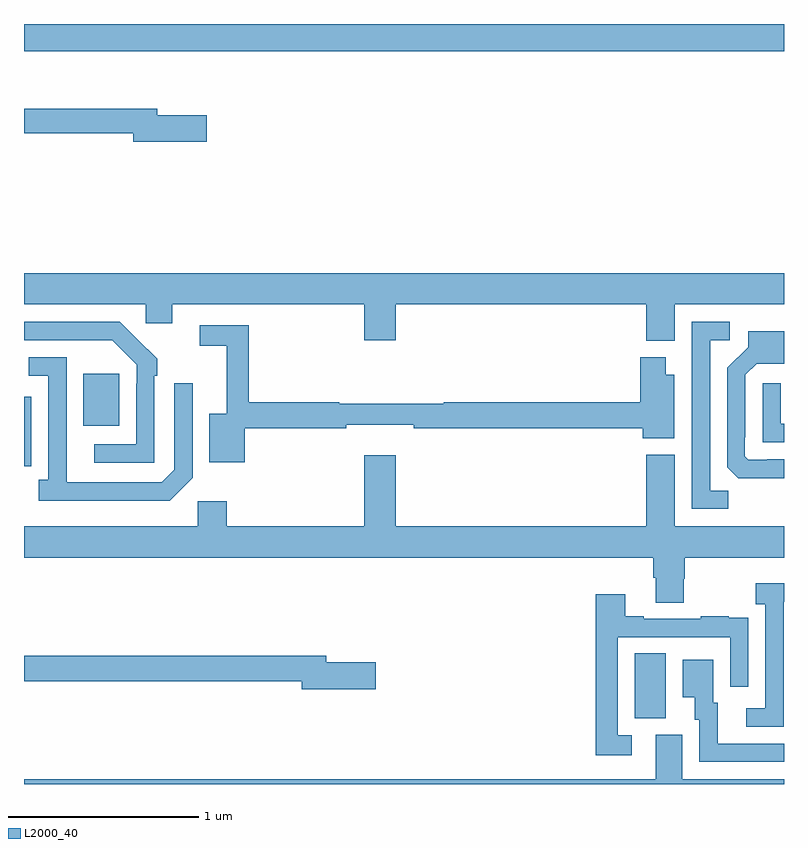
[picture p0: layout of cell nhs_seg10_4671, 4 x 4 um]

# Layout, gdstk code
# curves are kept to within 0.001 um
import gdstk
lib = gdstk.Library(unit=1e-6, precision=1e-09)
def R(c, l, rs):  # rectangles x0, y0, x1, y1
    for r in rs: c.add(gdstk.rectangle(r[:2], r[2:], *l))
def P(c, l, *ps):  # polygons
    for p in ps: c.add(gdstk.Polygon(p, *l))
L2000_40 = (2000, 40)

nhs_seg10_4671 = lib.new_cell('nhs_seg10_4671')
R(nhs_seg10_4671, L2000_40, [(382.214,1256.845,382.378,1257.188), (379.313,1258.385,379.501,1258.66), (379,1260.356,383,1260.5)])
P(nhs_seg10_4671, L2000_40, [(379.963,1260.021),(379.702,1260.021),(379.702,1260.055),(379,1260.055),(379,1259.926),(379.574,1259.926),(379.574,1259.879),(379.963,1259.879)],
  [(382.426,1259.024),(383,1259.024),(383,1259.188),(379,1259.188),(379,1259.024),(379.641,1259.024),(379.641,1258.926),(379.78,1258.926),(379.78,1259.024),(380.792,1259.024),(380.792,1258.836),(380.956,1258.836),(380.956,1259.024),(382.274,1259.024),(382.274,1258.832),(382.426,1258.832)],
  [(379.686,1258.649),(379.701,1258.649),(379.701,1258.737),(379.504,1258.932),(379,1258.932),(379,1258.836),(379.465,1258.836),(379.593,1258.707),(379.593,1258.607),(379.59,1258.607),(379.59,1258.287),(379.371,1258.287),(379.371,1258.191),(379.686,1258.191)],
  [(382.707,1258.043),(382.611,1258.043),(382.611,1258.836),(382.714,1258.836),(382.714,1258.932),(382.515,1258.932),(382.515,1257.948),(382.707,1257.948)],
  [(380.163,1258.372),(380.696,1258.372),(380.696,1258.391),(381.052,1258.391),(381.052,1258.372),(382.256,1258.372),(382.256,1258.319),(382.423,1258.319),(382.423,1258.654),(382.378,1258.654),(382.378,1258.747),(382.244,1258.747),(382.244,1258.508),(381.21,1258.508),(381.21,1258.501),(380.66,1258.501),(380.66,1258.508),(380.183,1258.508),(380.183,1258.914),(379.926,1258.914),(379.926,1258.806),(380.066,1258.806),(380.066,1258.45),(379.976,1258.45),(379.976,1258.193),(380.163,1258.193)],
  [(383,1258.209),(382.912,1258.209),(382.912,1258.206),(382.812,1258.206),(382.794,1258.224),(382.794,1258.324),(382.797,1258.324),(382.797,1258.653),(382.857,1258.713),(383,1258.712),(383,1258.882),(382.811,1258.882),(382.811,1258.8),(382.701,1258.69),(382.701,1258.168),(382.76,1258.109),(383,1258.108)],
  [(379.887,1258.113),(379.887,1258.609),(379.791,1258.609),(379.791,1258.155),(379.725,1258.089),(379.225,1258.089),(379.224,1258.746),(379.026,1258.746),(379.026,1258.65),(379.128,1258.65),(379.128,1258.102),(379.077,1258.102),(379.077,1257.992),(379.766,1257.992)],
  [(383,1258.395),(382.983,1258.395),(382.983,1258.609),(382.887,1258.609),(382.887,1258.299),(383,1258.299)],
  [(379.037,1258.282),(379.038,1258.282),(379.038,1258.537),(379,1258.537),(379,1258.173),(379.037,1258.173)],
  [(382.473,1257.579),(382.478,1257.579),(382.478,1257.692),(383,1257.692),(383,1257.856),(382.426,1257.856),(382.426,1258.234),(382.274,1258.234),(382.274,1257.856),(380.956,1257.856),(380.956,1258.231),(380.792,1258.231),(380.792,1257.856),(380.066,1257.856),(380.066,1257.988),(379.914,1257.988),(379.914,1257.856),(379,1257.856),(379,1257.692),(382.313,1257.692),(382.313,1257.586),(382.325,1257.586),(382.325,1257.454),(382.473,1257.454)],
  [(382.998,1257.259),(382.999,1257.259),(382.999,1257.459),(383,1257.459),(383,1257.556),(382.851,1257.556),(382.851,1257.446),(382.902,1257.446),(382.902,1256.898),(382.8,1256.898),(382.8,1256.802),(382.998,1256.802)],
  [(382.198,1256.757),(382.125,1256.757),(382.125,1257.273),(382.716,1257.273),(382.716,1257.012),(382.812,1257.012),(382.812,1257.266),(382.811,1257.266),(382.811,1257.375),(382.709,1257.375),(382.709,1257.382),(382.561,1257.382),(382.561,1257.369),(382.261,1257.369),(382.261,1257.382),(382.165,1257.382),(382.165,1257.499),(382.009,1257.499),(382.009,1256.652),(382.198,1256.652)],
  [(380.851,1257.14),(380.59,1257.14),(380.59,1257.176),(379,1257.176),(379,1257.04),(380.462,1257.04),(380.462,1256.998),(380.851,1256.998)],
  [(383,1256.712),(382.651,1256.712),(382.651,1256.928),(382.627,1256.928),(382.627,1257.154),(382.466,1257.154),(382.466,1256.957),(382.529,1256.957),(382.529,1256.838),(382.554,1256.838),(382.554,1256.616),(383,1256.616)],
  [(383,1256.524),(382.465,1256.524),(382.465,1256.76),(382.325,1256.76),(382.325,1256.524),(379,1256.524),(379,1256.5),(383,1256.5)])

lib.write_gds('nhs_seg10_4671.gds')
